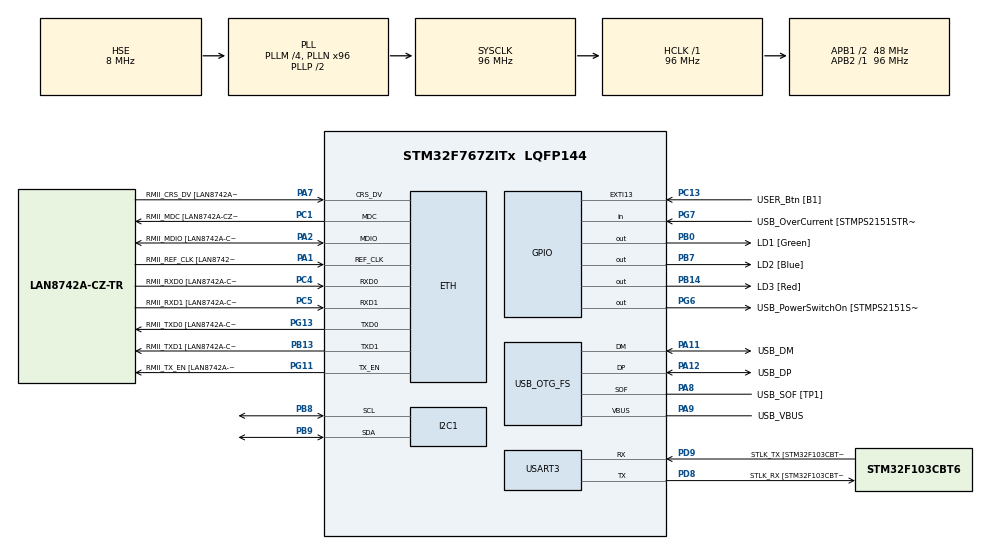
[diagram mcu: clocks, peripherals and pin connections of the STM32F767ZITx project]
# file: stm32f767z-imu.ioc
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ETH.MediaInterface=ETH_MEDIA_INTERFACE_RMII
ETH.PHY_Name=LAN8742A_PHY_ADDRESS
ETH.PHY_Value=0
ETH.PhyAddress=0
I2C1.Timing=0x20303E5D
Mcu.Family=STM32F7
Mcu.Name=STM32F767ZITx
Mcu.Package=LQFP144
NVIC.PriorityGroup=NVIC_PRIORITYGROUP_4
PA1.GPIO_Label=RMII_REF_CLK [LAN8742A-CZ-TR_REFCLK0]
PA1.Mode=RMII
PA1.Signal=ETH_REF_CLK
PA10.GPIO_Label=USB_ID
PA10.Signal=USB_OTG_FS_ID
PA11.GPIO_Label=USB_DM
PA11.Mode=Device_Only
PA11.Signal=USB_OTG_FS_DM
PA12.GPIO_Label=USB_DP
PA12.Mode=Device_Only
PA12.Signal=USB_OTG_FS_DP
PA13.GPIO_Label=TMS
PA13.Mode=Serial_Wire
PA13.Signal=SYS_JTMS-SWDIO
PA14.GPIO_Label=TCK
PA14.Mode=Serial_Wire
PA14.Signal=SYS_JTCK-SWCLK
PA2.GPIO_Label=RMII_MDIO [LAN8742A-CZ-TR_MDIO]
PA2.Mode=RMII
PA2.Signal=ETH_MDIO
PA7.GPIO_Label=RMII_CRS_DV [LAN8742A-CZ-TR_CRS_DV]
PA7.Mode=RMII
PA7.Signal=ETH_CRS_DV
PA8.GPIO_Label=USB_SOF [TP1]
PA8.Mode=Activate_SOF_FS
PA8.Signal=USB_OTG_FS_SOF
PA9.GPIO_Label=USB_VBUS
PA9.Mode=Activate_VBUS
PA9.Signal=USB_OTG_FS_VBUS
PB0.GPIO_Label=LD1 [Green]
PB0.Signal=GPIO_Output
PB13.GPIO_Label=RMII_TXD1 [LAN8742A-CZ-TR_TXD1]
PB13.Mode=RMII
PB13.Signal=ETH_TXD1
PB14.GPIO_Label=LD3 [Red]
PB14.Signal=GPIO_Output
PB3.GPIO_Label=SWO
PB3.Signal=SYS_JTDO-SWO
PB7.GPIO_Label=LD2 [Blue]
PB7.Signal=GPIO_Output
PB8.Mode=I2C
PB8.Signal=I2C1_SCL
PB9.Mode=I2C
PB9.Signal=I2C1_SDA
PC1.GPIO_Label=RMII_MDC [LAN8742A-CZ-TR_MDC]
PC1.Mode=RMII
PC1.Signal=ETH_MDC
PC13.GPIO_Label=USER_Btn [B1]
PC13.Signal=GPXTI13
PC14/OSC32_IN.Mode=LSE-External-Oscillator
PC14/OSC32_IN.Signal=RCC_OSC32_IN
PC15/OSC32_OUT.Mode=LSE-External-Oscillator
PC15/OSC32_OUT.Signal=RCC_OSC32_OUT
PC4.GPIO_Label=RMII_RXD0 [LAN8742A-CZ-TR_RXD0]
PC4.Mode=RMII
PC4.Signal=ETH_RXD0
PC5.GPIO_Label=RMII_RXD1 [LAN8742A-CZ-TR_RXD1]
PC5.Mode=RMII
PC5.Signal=ETH_RXD1
PD8.GPIO_Label=STLK_RX [STM32F103CBT6_PA3]
PD8.Mode=Asynchronous
PD8.Signal=USART3_TX
PD9.GPIO_Label=STLK_TX [STM32F103CBT6_PA2]
PD9.Mode=Asynchronous
PD9.Signal=USART3_RX
PG11.GPIO_Label=RMII_TX_EN [LAN8742A-CZ-TR_TXEN]
PG11.Mode=RMII
PG11.Signal=ETH_TX_EN
PG13.GPIO_Label=RMII_TXD0 [LAN8742A-CZ-TR_TXD0]
PG13.Mode=RMII
PG13.Signal=ETH_TXD0
PG6.GPIO_Label=USB_PowerSwitchOn [STMPS2151STR_EN]
PG6.Signal=GPIO_Output
PG7.GPIO_Label=USB_OverCurrent [STMPS2151STR_FAULT]
PG7.Signal=GPIO_Input
PH0/OSC_IN.GPIO_Label=MCO [STM32F103CBT6_PA8]
PH0/OSC_IN.Mode=HSE-External-Clock-Source
PH0/OSC_IN.Signal=RCC_OSC_IN
PH1/OSC_OUT.Mode=HSE-External-Clock-Source
PH1/OSC_OUT.Signal=RCC_OSC_OUT
ProjectManager.HeapSize=0x200
ProjectManager.StackSize=0x400
ProjectManager.TargetToolchain=STM32CubeIDE
RCC.48MHZClocksFreq_Value=24000000
RCC.AHBFreq_Value=96000000
RCC.APB1CLKDivider=RCC_HCLK_DIV2
RCC.APB1Freq_Value=48000000
RCC.APB1TimFreq_Value=96000000
RCC.APB2Freq_Value=96000000
RCC.APB2TimFreq_Value=96000000
RCC.CortexFreq_Value=96000000
RCC.HCLKFreq_Value=96000000
RCC.HSE_VALUE=8000000
RCC.HSI_VALUE=16000000
RCC.PLLM=4
RCC.PLLMUL=RCC_PLL_MUL9
RCC.PLLN=96
RCC.PLLQ=4
RCC.PRESCALERUSB=RCC_USBCLKSOURCE_PLL_DIV1_5
RCC.SYSCLKFreq_VALUE=96000000
RCC.SYSCLKSource=RCC_SYSCLKSOURCE_PLLCLK
RCC.SYSCLKSourceVirtual=RCC_SYSCLKSOURCE_PLLCLK
RCC.USBFreq_Value=48000000
RCC.VCOOutputFreq_Value=192000000
USART3.VirtualMode-Asynchronous=VM_ASYNC
USB_OTG_FS.VirtualMode=Device_Only
board=NUCLEO-F767ZI

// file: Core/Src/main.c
/* USER CODE BEGIN Header */
/**
  ******************************************************************************
  * @file           : main.c
  * @brief          : Main program body
  ******************************************************************************
  * @attention
  *
  * <h2><center>&copy; Copyright (c) 2020 STMicroelectronics.
  * All rights reserved.</center></h2>
  *
  * This software component is licensed by ST under BSD 3-Clause license,
  * the "License"; You may not use this file except in compliance with the
  * License. You may obtain a copy of the License at:
  *                        opensource.org/licenses/BSD-3-Clause
  *
  ******************************************************************************
  */
/* USER CODE END Header */

#include "main.h"

/* USER CODE BEGIN PD */
#define BNO055_DEV_ADDR (0x29<<1) //(0x28<<1)
#define BNO055_REG_CHIP_ID 0x00
#define BNO055_REG_CHIP_ID_VALUE 0xA0
#define BNO055_REG_SW_REV_ID_LSB 0x04
#define BNO055_REG_SW_REV_ID_MSB 0x05
#define BNO055_REG_BL_REV_ID 0x06
#define BNO055_REG_SYS_TRIGGER 0x3F
#define BNO055_REG_PWR_MODE 0x3E
#define BNO055_REG_OPR_MODE 0x3D
#define BNO055_REG_UNIT_SEL 0x3B
#define BNO055_REG_SYS_ERR 0x3A
#define BNO055_REG_SYS_STATUS 0x39
#define BNO055_REG_EUL_PITCH_MSB 0x1F
#define BNO055_REG_EUL_PITCH_LSB 0x1E
#define BNO055_REG_EUL_ROLL_MSB 0x1D
#define BNO055_REG_EUL_ROLL_LSB 0x1C
#define BNO055_REG_EUL_YAW_MSB 0x1B
#define BNO055_REG_EUL_YAW_LSB 0x1A
#define BNO055_REG_GYR_DATA_Z_MSB 0x19
#define BNO055_REG_GYR_DATA_Z_LSB 0x18
#define BNO055_REG_GYR_DATA_Y_MSB 0x17
#define BNO055_REG_GYR_DATA_Y_LSB 0x16
#define BNO055_REG_GYR_DATA_X_MSB 0x15
#define BNO055_REG_GYR_DATA_X_LSB 0x14

#define BNO055_OPR_MODE_IMU 0x08

/* USER CODE END PD */

ETH_HandleTypeDef heth;

I2C_HandleTypeDef hi2c1;

UART_HandleTypeDef huart3;

PCD_HandleTypeDef hpcd_USB_OTG_FS;

void SystemClock_Config(void);
static void MX_GPIO_Init(void);
static void MX_ETH_Init(void);
static void MX_USART3_UART_Init(void);
static void MX_USB_OTG_FS_PCD_Init(void);
static void MX_I2C1_Init(void);

int main(void)
{
  /* USER CODE BEGIN 1 */
	uint8_t i2cRxBuffer[12];
	uint8_t i2cTxBuffer;
	uint16_t euler[3];
	uint16_t gyro[3];
  /* USER CODE END 1 */

  /* MCU Configuration--------------------------------------------------------*/

  /* Reset of all peripherals, Initializes the Flash interface and the Systick. */
  HAL_Init();

  /* Configure the system clock */
  SystemClock_Config();

  /* Initialize all configured peripherals */
  MX_GPIO_Init();
  MX_ETH_Init();
  MX_USART3_UART_Init();
  MX_USB_OTG_FS_PCD_Init();
  MX_I2C1_Init();
  /* USER CODE BEGIN 2 */

  // read CHIP_ID register
  if (HAL_I2C_Mem_Read(&hi2c1, BNO055_DEV_ADDR, BNO055_REG_CHIP_ID, 1, i2cRxBuffer, 1, 100)==HAL_OK){
	  if (i2cRxBuffer[0] == BNO055_REG_CHIP_ID_VALUE) {
		  HAL_GPIO_WritePin(LD1_GPIO_Port, LD1_Pin, SET);
	  }
  } else {
	  HAL_GPIO_WritePin(LD3_GPIO_Port, LD3_Pin, SET);
  }

  // read Bootloader version
  HAL_I2C_Mem_Read(&hi2c1, BNO055_DEV_ADDR, BNO055_REG_BL_REV_ID, 1, &i2cRxBuffer[1], 1, 100);

  // read Software version
  HAL_I2C_Mem_Read(&hi2c1, BNO055_DEV_ADDR, BNO055_REG_SW_REV_ID_LSB, 1, &i2cRxBuffer[2], 1, 100);
  HAL_I2C_Mem_Read(&hi2c1, BNO055_DEV_ADDR, BNO055_REG_SW_REV_ID_MSB, 1, &i2cRxBuffer[3], 1, 100);
  HAL_I2C_Mem_Read(&hi2c1, BNO055_DEV_ADDR, BNO055_REG_SW_REV_ID_LSB, 1, &i2cRxBuffer[4], 2, 100);

  // read System Status
  HAL_I2C_Mem_Read(&hi2c1, BNO055_DEV_ADDR, BNO055_REG_SYS_STATUS, 1, &i2cRxBuffer[1], 1, 10);
  HAL_I2C_Mem_Read(&hi2c1, BNO055_DEV_ADDR, BNO055_REG_SYS_ERR, 1, &i2cRxBuffer[1], 1, 10);

  // set operating mode to IMU mode
  i2cTxBuffer = BNO055_OPR_MODE_IMU;
  HAL_I2C_Mem_Write(&hi2c1, BNO055_DEV_ADDR, BNO055_REG_OPR_MODE, 1, &i2cTxBuffer, 1, 10);
  HAL_I2C_Mem_Read(&hi2c1, BNO055_DEV_ADDR, BNO055_REG_SYS_STATUS, 1, &i2cRxBuffer[1], 1, 10);

  /* USER CODE END 2 */

  /* Infinite loop */
  while (1)
  {
    /* USER CODE BEGIN 3 */
	  HAL_GPIO_TogglePin(LD2_GPIO_Port, LD2_Pin);
	  HAL_I2C_Mem_Read(&hi2c1, BNO055_DEV_ADDR, BNO055_REG_EUL_PITCH_MSB, 1, i2cRxBuffer, 12, 10);
	  euler[0] = i2cRxBuffer[0]<<8 | i2cRxBuffer[1];
	  euler[1] = i2cRxBuffer[2]<<8 | i2cRxBuffer[3];
	  euler[2] = i2cRxBuffer[4]<<8 | i2cRxBuffer[5];
	  gyro[0]  = i2cRxBuffer[6]<<8 | i2cRxBuffer[7];
	  gyro[1]  = i2cRxBuffer[8]<<8 | i2cRxBuffer[9];
	  gyro[2]  = i2cRxBuffer[10]<<8 | i2cRxBuffer[11];
  }
  /* USER CODE END 3 */
}

void SystemClock_Config(void)
{
  RCC_OscInitTypeDef RCC_OscInitStruct = {0};
  RCC_ClkInitTypeDef RCC_ClkInitStruct = {0};
  RCC_PeriphCLKInitTypeDef PeriphClkInitStruct = {0};

  /** Configure LSE Drive Capability
  */
  HAL_PWR_EnableBkUpAccess();
  /** Configure the main internal regulator output voltage
  */
  __HAL_RCC_PWR_CLK_ENABLE();
  __HAL_PWR_VOLTAGESCALING_CONFIG(PWR_REGULATOR_VOLTAGE_SCALE3);
  /** Initializes the CPU, AHB and APB busses clocks
  */
  RCC_OscInitStruct.OscillatorType = RCC_OSCILLATORTYPE_HSE;
  RCC_OscInitStruct.HSEState = RCC_HSE_BYPASS;
  RCC_OscInitStruct.PLL.PLLState = RCC_PLL_ON;
  RCC_OscInitStruct.PLL.PLLSource = RCC_PLLSOURCE_HSE;
  RCC_OscInitStruct.PLL.PLLM = 4;
  RCC_OscInitStruct.PLL.PLLN = 96;
  RCC_OscInitStruct.PLL.PLLP = RCC_PLLP_DIV2;
  RCC_OscInitStruct.PLL.PLLQ = 4;
  if (HAL_RCC_OscConfig(&RCC_OscInitStruct) != HAL_OK)
  {
    Error_Handler();
  }
  /** Activate the Over-Drive mode
  */
  if (HAL_PWREx_EnableOverDrive() != HAL_OK)
  {
    Error_Handler();
  }
  /** Initializes the CPU, AHB and APB busses clocks
  */
  RCC_ClkInitStruct.ClockType = RCC_CLOCKTYPE_HCLK|RCC_CLOCKTYPE_SYSCLK
                              |RCC_CLOCKTYPE_PCLK1|RCC_CLOCKTYPE_PCLK2;
  RCC_ClkInitStruct.SYSCLKSource = RCC_SYSCLKSOURCE_PLLCLK;
  RCC_ClkInitStruct.AHBCLKDivider = RCC_SYSCLK_DIV1;
  RCC_ClkInitStruct.APB1CLKDivider = RCC_HCLK_DIV2;
  RCC_ClkInitStruct.APB2CLKDivider = RCC_HCLK_DIV1;

  if (HAL_RCC_ClockConfig(&RCC_ClkInitStruct, FLASH_LATENCY_3) != HAL_OK)
  {
    Error_Handler();
  }
  PeriphClkInitStruct.PeriphClockSelection = RCC_PERIPHCLK_USART3|RCC_PERIPHCLK_I2C1
                              |RCC_PERIPHCLK_CLK48;
  PeriphClkInitStruct.Usart3ClockSelection = RCC_USART3CLKSOURCE_PCLK1;
  PeriphClkInitStruct.I2c1ClockSelection = RCC_I2C1CLKSOURCE_PCLK1;
  PeriphClkInitStruct.Clk48ClockSelection = RCC_CLK48SOURCE_PLL;
  if (HAL_RCCEx_PeriphCLKConfig(&PeriphClkInitStruct) != HAL_OK)
  {
    Error_Handler();
  }
}

static void MX_ETH_Init(void)
{

  heth.Instance = ETH;
  heth.Init.AutoNegotiation = ETH_AUTONEGOTIATION_ENABLE;
  heth.Init.PhyAddress = LAN8742A_PHY_ADDRESS;
  heth.Init.MACAddr[0] =   0x00;
  heth.Init.MACAddr[1] =   0x80;
  heth.Init.MACAddr[2] =   0xE1;
  heth.Init.MACAddr[3] =   0x00;
  heth.Init.MACAddr[4] =   0x00;
  heth.Init.MACAddr[5] =   0x00;
  heth.Init.RxMode = ETH_RXPOLLING_MODE;
  heth.Init.ChecksumMode = ETH_CHECKSUM_BY_HARDWARE;
  heth.Init.MediaInterface = ETH_MEDIA_INTERFACE_RMII;

  if (HAL_ETH_Init(&heth) != HAL_OK)
  {
    Error_Handler();
  }

}

static void MX_I2C1_Init(void)
{

  hi2c1.Instance = I2C1;
  hi2c1.Init.Timing = 0x20303E5D;
  hi2c1.Init.OwnAddress1 = 0;
  hi2c1.Init.AddressingMode = I2C_ADDRESSINGMODE_7BIT;
  hi2c1.Init.DualAddressMode = I2C_DUALADDRESS_DISABLE;
  hi2c1.Init.OwnAddress2 = 0;
  hi2c1.Init.OwnAddress2Masks = I2C_OA2_NOMASK;
  hi2c1.Init.GeneralCallMode = I2C_GENERALCALL_DISABLE;
  hi2c1.Init.NoStretchMode = I2C_NOSTRETCH_DISABLE;
  if (HAL_I2C_Init(&hi2c1) != HAL_OK)
  {
    Error_Handler();
  }
  /** Configure Analogue filter
  */
  if (HAL_I2CEx_ConfigAnalogFilter(&hi2c1, I2C_ANALOGFILTER_ENABLE) != HAL_OK)
  {
    Error_Handler();
  }
  /** Configure Digital filter
  */
  if (HAL_I2CEx_ConfigDigitalFilter(&hi2c1, 0) != HAL_OK)
  {
    Error_Handler();
  }

}

static void MX_USART3_UART_Init(void)
{

  huart3.Instance = USART3;
  huart3.Init.BaudRate = 115200;
  huart3.Init.WordLength = UART_WORDLENGTH_8B;
  huart3.Init.StopBits = UART_STOPBITS_1;
  huart3.Init.Parity = UART_PARITY_NONE;
  huart3.Init.Mode = UART_MODE_TX_RX;
  huart3.Init.HwFlowCtl = UART_HWCONTROL_NONE;
  huart3.Init.OverSampling = UART_OVERSAMPLING_16;
  huart3.Init.OneBitSampling = UART_ONE_BIT_SAMPLE_DISABLE;
  huart3.AdvancedInit.AdvFeatureInit = UART_ADVFEATURE_NO_INIT;
  if (HAL_UART_Init(&huart3) != HAL_OK)
  {
    Error_Handler();
  }

}

static void MX_USB_OTG_FS_PCD_Init(void)
{

  hpcd_USB_OTG_FS.Instance = USB_OTG_FS;
  hpcd_USB_OTG_FS.Init.dev_endpoints = 6;
  hpcd_USB_OTG_FS.Init.speed = PCD_SPEED_FULL;
  hpcd_USB_OTG_FS.Init.dma_enable = DISABLE;
  hpcd_USB_OTG_FS.Init.phy_itface = PCD_PHY_EMBEDDED;
  hpcd_USB_OTG_FS.Init.Sof_enable = ENABLE;
  hpcd_USB_OTG_FS.Init.low_power_enable = DISABLE;
  hpcd_USB_OTG_FS.Init.lpm_enable = DISABLE;
  hpcd_USB_OTG_FS.Init.vbus_sensing_enable = ENABLE;
  hpcd_USB_OTG_FS.Init.use_dedicated_ep1 = DISABLE;
  if (HAL_PCD_Init(&hpcd_USB_OTG_FS) != HAL_OK)
  {
    Error_Handler();
  }

}

static void MX_GPIO_Init(void)
{
  GPIO_InitTypeDef GPIO_InitStruct = {0};

  /* GPIO Ports Clock Enable */
  __HAL_RCC_GPIOC_CLK_ENABLE();
  __HAL_RCC_GPIOH_CLK_ENABLE();
  __HAL_RCC_GPIOA_CLK_ENABLE();
  __HAL_RCC_GPIOB_CLK_ENABLE();
  __HAL_RCC_GPIOD_CLK_ENABLE();
  __HAL_RCC_GPIOG_CLK_ENABLE();

  /*Configure GPIO pin Output Level */
  HAL_GPIO_WritePin(GPIOB, LD1_Pin|LD3_Pin|LD2_Pin, GPIO_PIN_RESET);

  /*Configure GPIO pin Output Level */
  HAL_GPIO_WritePin(USB_PowerSwitchOn_GPIO_Port, USB_PowerSwitchOn_Pin, GPIO_PIN_RESET);

  /*Configure GPIO pin : USER_Btn_Pin */
  GPIO_InitStruct.Pin = USER_Btn_Pin;
  GPIO_InitStruct.Mode = GPIO_MODE_IT_RISING;
  GPIO_InitStruct.Pull = GPIO_NOPULL;
  HAL_GPIO_Init(USER_Btn_GPIO_Port, &GPIO_InitStruct);

  /*Configure GPIO pins : LD1_Pin LD3_Pin LD2_Pin */
  GPIO_InitStruct.Pin = LD1_Pin|LD3_Pin|LD2_Pin;
  GPIO_InitStruct.Mode = GPIO_MODE_OUTPUT_PP;
  GPIO_InitStruct.Pull = GPIO_NOPULL;
  GPIO_InitStruct.Speed = GPIO_SPEED_FREQ_LOW;
  HAL_GPIO_Init(GPIOB, &GPIO_InitStruct);

  /*Configure GPIO pin : USB_PowerSwitchOn_Pin */
  GPIO_InitStruct.Pin = USB_PowerSwitchOn_Pin;
  GPIO_InitStruct.Mode = GPIO_MODE_OUTPUT_PP;
  GPIO_InitStruct.Pull = GPIO_NOPULL;
  GPIO_InitStruct.Speed = GPIO_SPEED_FREQ_LOW;
  HAL_GPIO_Init(USB_PowerSwitchOn_GPIO_Port, &GPIO_InitStruct);

  /*Configure GPIO pin : USB_OverCurrent_Pin */
  GPIO_InitStruct.Pin = USB_OverCurrent_Pin;
  GPIO_InitStruct.Mode = GPIO_MODE_INPUT;
  GPIO_InitStruct.Pull = GPIO_NOPULL;
  HAL_GPIO_Init(USB_OverCurrent_GPIO_Port, &GPIO_InitStruct);

}

void Error_Handler(void)
{
}

/************************ (C) COPYRIGHT STMicroelectronics *****END OF FILE****/
